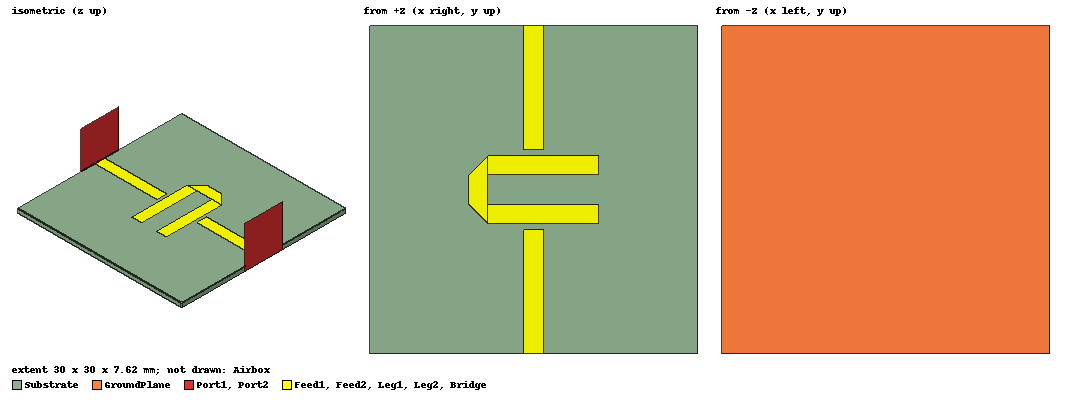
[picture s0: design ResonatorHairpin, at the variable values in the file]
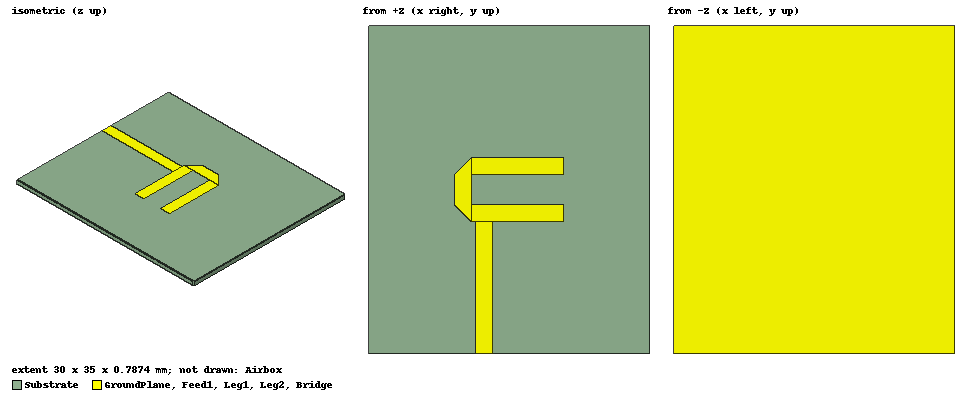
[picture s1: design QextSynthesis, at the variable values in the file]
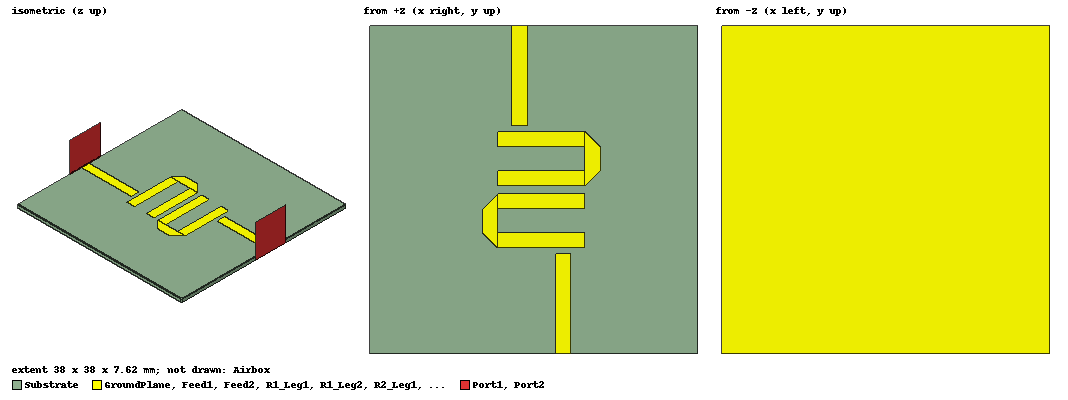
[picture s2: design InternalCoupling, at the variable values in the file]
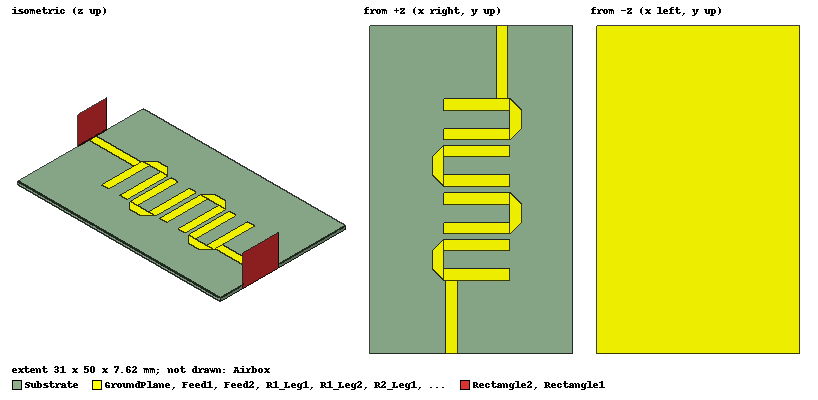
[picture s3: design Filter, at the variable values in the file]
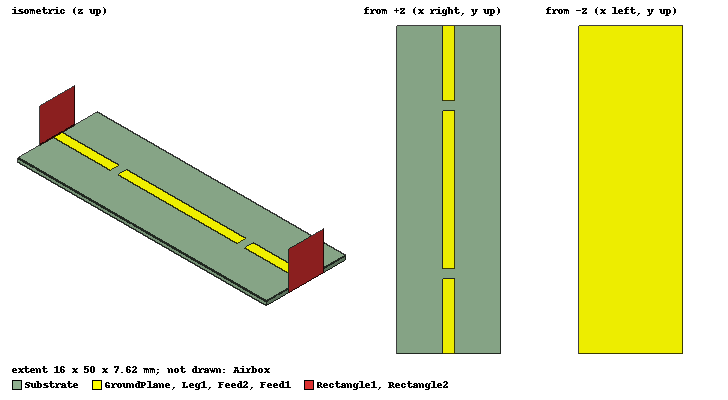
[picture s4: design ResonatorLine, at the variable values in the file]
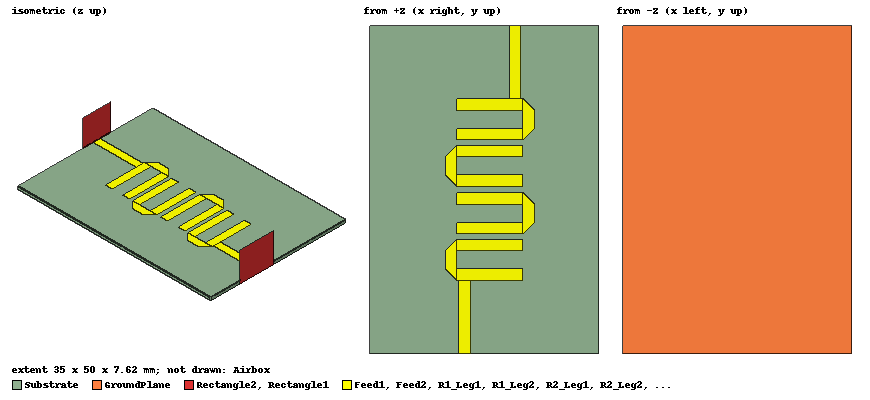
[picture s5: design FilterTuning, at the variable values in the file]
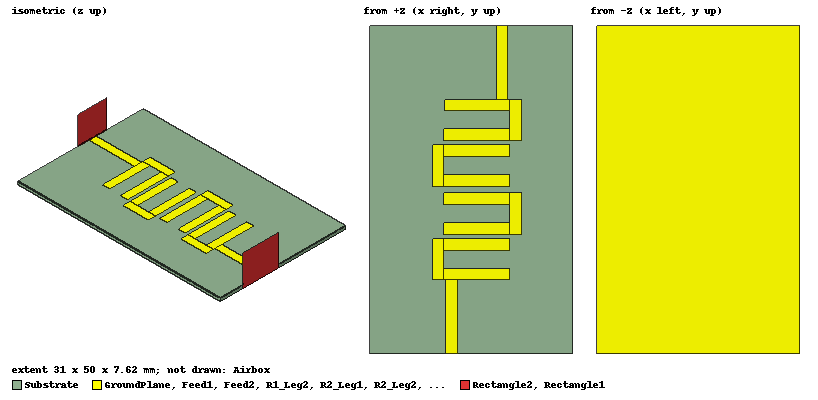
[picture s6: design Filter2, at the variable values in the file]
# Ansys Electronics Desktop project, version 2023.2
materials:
  vacuum: permittivity=1
  Rogers RO4003 (tm): permittivity=3.55 dielectric_loss_tangent=0.0027
  copper: permeability=0.999991 conductivity=58000000
  pec: conductivity=1e+30
  LossLess-Rogers RO4003 (tm): permittivity=3.55

design ResonatorHairpin (HFSS, HFSS Modal Network, model units mm)
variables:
  AirboxWidth = 30mm
  MicrostripWidth = 1.78mm
  Thickness = 31mil
  Len = 24.95604769mm
  LegR1 = 0.405
  BridgeR2 = 0.252
  R1x = AirboxHeight/2- (MicrostripWidth + LegR1*Len)/2
  R1y = AirboxWidth/2 - BridgeR2*Len/2
  AirboxHeight = 30mm
  W50 = 1.78mm
  FX = (AirboxHeight/2 - MicrostripWidth/2) mm
  F1x = AirboxHeight/2 - MicrostripWidth/2+FOffset
  WeakGap = 0.5mm
  FOffset = 0mm
  LegOffset = 0
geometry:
  Substrate [LossLess-Rogers RO4003 (tm)] = box(corner=(0mm, 0mm, 0), size=(AirboxHeight, AirboxWidth, Thickness))
  Airbox [vacuum] = box(corner=(0mm, 0mm, 0mm), size=(AirboxHeight, AirboxWidth, 495mil))
  Leg1 = rectangle(corner=(MicrostripWidth+R1x, R1y, Thickness), x_size=Len*LegR1, y_size=MicrostripWidth)
  Leg2 = rectangle(corner=(MicrostripWidth+R1x, R1y+BridgeR2*Len-MicrostripWidth, Thickness), x_size=Len*LegR1, y_size=MicrostripWidth)
  Bridge = rectangle(corner=(R1x, R1y, Thickness), x_size=MicrostripWidth, y_size=Len*BridgeR2)
  Feed1 = rectangle(corner=(F1X, 0, Thickness), x_size=W50, y_size=R1y-WeakGap)
  Feed2 = rectangle(corner=(AirboxHeight/2 - MicrostripWidth/2 + FOffset, AirboxWidth-R1y+WeakGap, Thickness), x_size=W50, y_size=R1y-WeakGap)
  GroundPlane = rectangle(corner=(0, 0, 0), x_size=AirboxHeight, y_size=AirboxWidth)
  Polyline1 = polyline(z=Thickness, xy: (R1x, R1y) (R1x, R1y+MicrostripWidth) (R1x+MicrostripWidth, R1y) (R1x, R1y), closed, covered)
  Bridge.subtract(Polyline1)
  Polyline2 = polyline(z=Thickness, xy: (R1x, R1y + BridgeR2*Len - MicrostripWidth) (R1x, R1y + BridgeR2*Len) (R1x+MicrostripWidth, R1y+BridgeR2*Len) (R1x, R1y + BridgeR2*Len - MicrostripWidth), closed, covered)
  Bridge.subtract(Polyline2)
  Port1 = rectangle(corner=(F1x - (W50*3/2), 0mm, 0), z_size=300mil, x_size=W50*4)
  Port2 = rectangle(corner=(F1x - (W50*3/2), AirboxWidth, 0), z_size=300mil, x_size=W50*4)
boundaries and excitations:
  Rad1: Radiation Faces=Airbox.face(+z)
  PerfE1: Perfect E Objects=[Bridge, Feed1, Feed2, GroundPlane, Leg1, Leg2]
  1: Wave Port Objects=Port1 WavePortType=Modal NumModes=1 Modes{Mode1{CharImp=Zpi}}
  2: Wave Port Objects=Port2 WavePortType=Modal NumModes=1 Modes{Mode1{CharImp=Zpi}}
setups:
  Setup1: HfssDriven Frequency=3.6GHz MaxDeltaS=0.004 MaximumPasses=16 MinimumPasses=15 MinimumConvergedPasses=1 PercentRefinement=30 BasisOrder=1 PortAccuracy=2 DrivenSolverType="Direct Solver"
    sweep Sweep: 2GHz to 6GHz, 1200 points; Type=Interpolating InterpTolerance=0.5 InterpMaxSolns=250 InterpUsePortImped=false PassivityErrorTolerance=0.0001
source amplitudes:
  1:1: 1W 0deg
  2:1: 0W 0deg
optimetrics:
  Bridge265: Parametric Sim._Setups=[Setup1]
    sweep LegR1: LINC 0.39 0.44 4
    table edits: add(0.44) edit(0.44, 0.396)
  Bridge258: Parametric Sim._Setups=[Setup1]
    sweep BridgeR2: 0.258
    sweep LegR1: LINC 0.38 0.44 8
    table edits: add(0.258, 0.44) edit(0.258, 0.44, 0.258, 0.4)
  Bridge270: Parametric Sim._Setups=[Setup1]
    sweep BridgeR2: 0.27
    sweep LegR1: LINC 0.38 0.4 8
    table edits: add(0.27, 0.4) edit(0.27, 0.4, 0.27, 0.36)
  Bridge252: Parametric Sim._Setups=[Setup1]
    sweep BridgeR2: 0.252
    sweep LegR1: LINC 0.39 0.44 8
    table edits: add(0.252, 0.44) edit(0.252, 0.44, 0.252, 0.405)
  Bridge275: Parametric Sim._Setups=[Setup1]
    sweep BridgeR2: 0.275
    sweep LegR1: LINC 0.36 0.4 10
    table edits: add(0.275, 0.4) edit(0.275, 0.4, 0.275, 0.391)
  Bridge245: Parametric Sim._Setups=[Setup1]
    sweep BridgeR2: 0.245
    sweep LegR1: LINC 0.39 0.44 8
    table edits: add(0.245, 0.44) edit(0.245, 0.44, 0.245, 0.41)
  Bridge240: Parametric Sim._Setups=[Setup1]
    sweep BridgeR2: 0.24
    sweep LegR1: LINC 0.4 0.44 8 LINC 0.36 0.4 6
    table edits: add(0.24, 0.4) edit(0.24, 0.4, 0.24, 0.411)
  ParametricSetup1: Parametric Sim._Setups=[Setup1]
    sweep WeakGap: 1mm
    sweep BridgeR2: 0.252
    sweep LegR1: 0.405
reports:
  Optimized Resonator S21 Plot: dB(S(2,1)) vs Freq on Setup1 : Sweep; markers MX1 at x=3.6e+09

design QextSynthesis (HFSS, HFSS Modal Network, model units mm)
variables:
  AirboxWidth = 35mm
  MicrostripWidth = 1.78mm
  Thickness = 31mil
  Len = 24.95604769mm
  LegR1 = 0.391
  BridgeR2 = 0.275
  R1x = AirboxHeight/2- (MicrostripWidth + LegR1*Len)/2
  R1y = AirboxWidth/2 - BridgeR2*Len/2
  AirboxHeight = 30mm
  FeedPos = R1x+MicrostripWidth+QextOffset
  QextOffset = 0.41667mm
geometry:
  Substrate [LossLess-Rogers RO4003 (tm)] = box(corner=(0mm, 0mm, 0), size=(AirboxHeight, AirboxWidth, Thickness))
  Airbox [vacuum] = box(corner=(0mm, 0mm, 0), size=(AirboxHeight, AirboxWidth, 495mil))
  Leg1 = rectangle(corner=(MicrostripWidth+R1x, R1y, Thickness), x_size=Len*LegR1, y_size=MicrostripWidth)
  Leg2 = rectangle(corner=(MicrostripWidth+R1x, R1y+BridgeR2*Len-MicrostripWidth, Thickness), x_size=Len*LegR1, y_size=MicrostripWidth)
  Bridge = rectangle(corner=(R1x, R1y, Thickness), x_size=MicrostripWidth, y_size=Len*BridgeR2)
  Feed1 = rectangle(corner=(FeedPos, 0, Thickness), x_size=MicrostripWidth, y_size=R1y)
  GroundPlane = rectangle(corner=(0, 0, 0), x_size=AirboxHeight, y_size=AirboxWidth)
  Polyline1 = polyline(z=Thickness, xy: (R1x, R1y) (R1x, R1y+MicrostripWidth) (R1x+MicrostripWidth, R1y) (R1x, R1y), closed, covered)
  Polyline2 = polyline(z=Thickness, xy: (R1x, R1y + BridgeR2*Len - MicrostripWidth) (R1x, R1y + BridgeR2*Len) (R1x+MicrostripWidth, R1y+BridgeR2*Len) (R1x, R1y + BridgeR2*Len - MicrostripWidth), closed, covered)
  Bridge.subtract(Polyline1, Polyline2)
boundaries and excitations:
  PerfE1: Perfect E Objects=[Bridge, Feed1, GroundPlane, Leg1, Leg2]
  Rad1: Radiation Faces=Airbox.face(+z)
  1: Wave Port Faces=Airbox.face(-y) WavePortType=Modal NumModes=1 Modes{Mode1{CharImp=Zpi}}
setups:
  Setup1: HfssDriven Frequency=3.6GHz MaxDeltaS=0.005 MaximumPasses=24 MinimumPasses=12 MinimumConvergedPasses=1 PercentRefinement=30 BasisOrder=1 PortAccuracy=2 DrivenSolverType="Direct Solver"
    sweep Sweep: 2GHz to 11GHz, 8000 points; Type=Interpolating SaveFields InterpTolerance=0.5 InterpMaxSolns=250 InterpUsePortImped=false PassivityErrorTolerance=0.0001
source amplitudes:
  1:1: 1W 0deg
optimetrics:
  Bridge252: Parametric Sim._Setups=[Setup1]
    sweep BridgeR2: 0.252
    sweep LegR1: 0.405
    sweep QextOffset: LIN 0mm 0.5mm 0.1mm
    table edits: add(0.252, 0.405, 0.5mm) edit(0.252, 0.405, 0.5mm, 0.252, 0.405, 0.341mm)
  Bridge275: Parametric Sim._Setups=[Setup1]
    sweep BridgeR2: 0.275
    sweep LegR1: 0.391
    sweep QextOffset: LIN 0mm 0.5mm 0.1mm
    table edits: add(0.275, 0.391, 0.5mm) edit(0.275, 0.391, 0.5mm, 0.275, 0.391, -0.03mm)
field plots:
  ComplexMag_E1: E Field in Airbox on Setup1 : LastAdaptive at Freq=3.6GHz Phase=0deg
  Mag_E1: E Field in Airbox on Setup1 : Sweep at Freq=6.5GHz Phase=0deg
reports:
  S Parameter Plot 1: dB(S(1,1)), ang_deg(S(1,1)) vs Freq on Setup1 : Sweep; markers MX2 at x=6.9246204e+09, MY1 at y=-2.79148, MY3 at y=0.350113

design InternalCoupling (HFSS, HFSS Modal Network, model units mm)
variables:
  a = 0.252
  Beta1 = 0.405
  Beta2 = Beta1
  W = 1.78mm
  Len = 24.95604769mm
  Resonator1W = a*Len
  Resonator1H = W + max(Beta1*Len,Beta2*Len)
  Spacing1 = 0.93mm
  ResonatorsW = 2*Resonator1W + Spacing1
  F1Y = 0mm
  WeakGap = 0.68mm
  FeedOffset = 2.5mm
  AirboxWidth = 38mm
  AirboxHeight = 38mm
  Thickness = 31mil
  Resonator1X = (AirboxHeight/2) - (Resonator1H/2)
  Resonator1Y = AirboxWidth/2 - (Resonator1W*2/2) - (Spacing1/2)
  Resonator2X = Resonator1X+W
  Resonator2Y = Resonator1Y + (a*Len) + Spacing1
  F1X = Resonator1X+(Beta1*Len+W)/2 + FeedOffset
  F2X = Resonator2X+(Beta2*Len-W)/2 - FeedOffset
  F2Y = FeedLen + ResonatorsW + 2*WeakGap
  FeedLen = Resonator1Y-WeakGap
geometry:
  Substrate [Rogers RO4003 (tm)] = box(corner=(0mm, 0mm, 0), size=(AirboxHeight, AirboxWidth, Thickness))
  Airbox [vacuum] = box(corner=(0mm, 0mm, 0), size=(AirboxHeight, AirboxWidth, 495mil))
  GroundPlane = rectangle(corner=(0, 0, 0), x_size=AirboxHeight, y_size=AirboxWidth)
  R1_Bridge = rectangle(corner=(Resonator1X, Resonator1Y, Thickness), x_size=W, y_size=a*Len)
  R1_Leg1 = rectangle(corner=(Resonator1X+W, Resonator1Y, Thickness), x_size=Beta1*Len, y_size=W)
  R1_Leg2 = rectangle(corner=(Resonator1X+W, Resonator1Y+(a*Len)-W, Thickness), x_size=Beta2*Len, y_size=W)
  R2_Bridge1 = rectangle(corner=(Resonator2X+max(Beta1,Beta2)*Len, Resonator2Y, Thickness), x_size=W, y_size=a*Len)
  R2_Leg1 = rectangle(corner=(Resonator2X, Resonator2Y, Thickness), x_size=Beta1*Len, y_size=W)
  R2_Leg2 = rectangle(corner=(Resonator2X, Resonator2Y+(a*Len)-W, Thickness), x_size=Beta2*Len, y_size=W)
  Feed1 = rectangle(corner=(F1X, F1Y, Thickness), x_size=W, y_size=FeedLen)
  Feed2 = rectangle(corner=(F2X, F2Y, Thickness), x_size=W, y_size=FeedLen)
  Polyline1 = polyline(z=Thickness, xy: (Resonator1X, Resonator1Y) (Resonator1X, Resonator1Y+W) (Resonator1X+W, Resonator1Y) (Resonator1X, Resonator1Y), closed, covered)
  R1_Bridge.subtract(Polyline1)
  Polyline2 = polyline(z=Thickness, xy: (Resonator1X, Resonator1Y + a*Len - W) (Resonator1X, Resonator1Y+ a*Len) (Resonator1X+W, Resonator1Y + a*Len) (Resonator1X, Resonator1Y + a*Len - W), closed, covered)
  R1_Bridge.subtract(Polyline2)
  Polyline3 = polyline(z=Thickness, xy: (Resonator2X+Beta1*Len, Resonator2Y) (Resonator2X+Beta1*Len+W, Resonator2Y) (Resonator2X+Beta1*Len+W, Resonator2Y+W) (Resonator2X+Beta1*Len, Resonator2Y), closed, covered)
  Polyline4 = polyline(z=Thickness, xy: (Resonator2X+Beta2*Len, Resonator2Y+a*Len) (Resonator2X+Beta2*Len+W, Resonator2Y+a*Len) (Resonator2X+Beta2*Len+W, Resonator2Y+a*Len-W) (Resonator2X+Beta2*Len, Resonator2Y+a*Len), closed, covered)
  R2_Bridge1.subtract(Polyline3, Polyline4)
  Port1 = rectangle(corner=(F1X - (W*3/2), 0mm, 0mm), z_size=300mil, x_size=W*4)
  Port2 = rectangle(corner=(F2X - (W*3/2), AirboxWidth, 0mm), z_size=300mil, x_size=W*4)
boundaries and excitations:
  Rad1: Radiation Faces=Airbox.face(+z)
  PerfE1: Perfect E Objects=[Feed1, Feed2, GroundPlane, R1_Bridge, R1_Leg1, R1_Leg2, R2_Bridge1, R2_Leg2, R2_Leg1]
  1: Wave Port Objects=Port1 WavePortType=Modal NumModes=1 Modes{Mode1{CharImp=Zpi}}
  2: Wave Port Objects=Port2 WavePortType=Modal NumModes=1 Modes{Mode1{CharImp=Zpi}}
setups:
  Setup1: HfssDriven Frequency=3.6GHz MaxDeltaS=0.004 MaximumPasses=22 MinimumPasses=13 MinimumConvergedPasses=1 PercentRefinement=30 BasisOrder=1 PortAccuracy=2 DrivenSolverType="Direct Solver"
    sweep Sweep: 1.8GHz to 5.4GHz, 2500 points; Type=Interpolating InterpTolerance=0.5 InterpMaxSolns=250 InterpUsePortImped=false PassivityErrorTolerance=0.0001
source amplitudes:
  1:1: 1W 0deg
  2:1: 0W 0deg
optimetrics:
  Bridge252: Parametric Sim._Setups=[Setup1]
    sweep a: 0.252
    sweep Beta1: 0.405
    sweep Spacing1: LINC 0.05mm 1.25mm 6
  Bridge275: Parametric Sim._Setups=[Setup1]
    sweep a: 0.275
    sweep Beta1: 0.391
    sweep Spacing1: LINC 0.05mm 1.25mm 6
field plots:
  ComplexMag_E1: E Field in Airbox on Setup1 : LastAdaptive at Freq=3.6GHz Phase=0deg
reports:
  S Parameter Plot 1: dB(S(2,1)) vs Freq on Setup1 : Sweep [a=0.275 Beta1=all Spacing1=all]; markers m1 at 2.7277311GHz, m2 at 3.9118848GHz, m3 at 3.2938776GHz, m4 at 3.8081633GHz, m5 at 3.4321729GHz, m6 at 3.7462185GHz, m7 at 3.4840336GHz, m8 at 3.7073229GHz, m9 at 3.5229292GHz, m10 at 3.6828331GHz, m11 at 3.5445378GHz, m12 at 3.6655462GHz

design Filter (HFSS, HFSS Modal Network, model units mm)
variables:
  a = 0.252
  Beta1 = 0.405
  Beta2 = Beta1
  W = 1.78mm
  Len = 24.95604769mm
  Resonator1W = a*Len
  R1Beta1 = 0.405
  Resonator1H = W + max(Beta1,Beta2)*Len
  W50 = 1.78mm
  Spacing1 = 0.77916mm
  ResonatorsW = Resonator1W + Resonator2W + Resonator3W + Resonator4W + Spacing1 + Spacing2 + Spacing3
  FeedOffset = 0.341mm
  Resonator2W = a*Len
  Resonator3W = a*Len
  Resonator4W = a*Len
  F1Y = 0mm
  Spacing2 = 0.98165mm
  Spacing3 = Spacing1
  WeakGap = 0mm
  AirboxWidth = 50mm
  AirboxHeight = 31mm
  Thickness = 31mil
  Resonator1X = (AirboxHeight/2) - (Resonator1H/2)
  Resonator1Y = AirboxWidth/2 - ResonatorsW/2
  Resonator2X = Resonator1X+W
  Resonator2Y = Resonator1Y + Resonator1W + Spacing1
  F1X = Resonator1X+W+FeedOffset
  F2X = Resonator2X-W+max(Beta1,Beta2)*Len - FeedOffset
  F2Y = FeedLen + ResonatorsW + 2*WeakGap
  FeedLen = Resonator1Y-WeakGap
  Resonator3X = Resonator1X
  Resonator4X = Resonator1X+W
  Resonator3Y = Resonator2Y + Resonator2W + Spacing2
  Resonator4Y = Resonator3Y + Resonator3W + Spacing3
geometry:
  Substrate [LossLess-Rogers RO4003 (tm)] = box(corner=(0mm, 0mm, 0), size=(AirboxHeight, AirboxWidth, Thickness))
  Airbox [vacuum] = box(corner=(0mm, 0mm, 0), size=(AirboxHeight, AirboxWidth, 495mil))
  GroundPlane = rectangle(corner=(0, 0, 0), x_size=AirboxHeight, y_size=AirboxWidth)
  R1_Bridge = rectangle(corner=(Resonator1X, Resonator1Y, Thickness), x_size=W, y_size=a*Len)
  R1_Leg1 = rectangle(corner=(Resonator1X+W, Resonator1Y, Thickness), x_size=R1Beta1*Len, y_size=W)
  R1_Leg2 = rectangle(corner=(Resonator1X+W, Resonator1Y+(a*Len)-W, Thickness), x_size=Beta2*Len, y_size=W)
  R2_Bridge = rectangle(corner=(Resonator2X+max(Beta1,Beta2)*Len, Resonator2Y, Thickness), x_size=W, y_size=a*Len)
  R2_Leg1 = rectangle(corner=(Resonator2X, Resonator2Y, Thickness), x_size=Beta1*Len, y_size=W)
  R2_Leg2 = rectangle(corner=(Resonator2X, Resonator2Y+(a*Len)-W, Thickness), x_size=Beta2*Len, y_size=W)
  Feed1 = rectangle(corner=(F1X, F1Y, Thickness), x_size=W50, y_size=FeedLen)
  Feed2 = rectangle(corner=(F2X, F2Y, Thickness), x_size=W50, y_size=FeedLen)
  R3_Bridge = rectangle(corner=(Resonator3X, Resonator3Y, Thickness), x_size=W, y_size=a*Len)
  R3_Leg1 = rectangle(corner=(Resonator3X+W, Resonator3Y, Thickness), x_size=Beta1*Len, y_size=W)
  R3_Leg2 = rectangle(corner=(Resonator3X+W, Resonator3Y+(a*Len)-W, Thickness), x_size=Beta1*Len, y_size=W)
  R4_Bridge = rectangle(corner=(Resonator4X+max(Beta1,Beta2)*Len, Resonator4Y, Thickness), x_size=W, y_size=a*Len)
  R4_Leg1 = rectangle(corner=(Resonator4X, Resonator4Y, Thickness), x_size=Beta1*Len, y_size=W)
  R4_Leg2 = rectangle(corner=(Resonator4X-(R1Beta1-Beta1)*Len, Resonator4Y+(a*Len)-W, Thickness), x_size=R1Beta1*Len, y_size=W)
  Polyline1 = polyline(z=Thickness, xy: (Resonator1X, Resonator1Y) (Resonator1X, Resonator1Y + W) (Resonator1X+W, Resonator1Y) (Resonator1X, Resonator1Y), closed, covered)
  R1_Bridge.subtract(Polyline1)
  Polyline2 = polyline(z=Thickness, xy: (Resonator3X, Resonator3Y) (Resonator3X, Resonator3Y+W) (Resonator3X+W, Resonator3Y) (Resonator3X, Resonator3Y), closed, covered)
  R3_Bridge.subtract(Polyline2)
  Polyline3 = polyline(z=Thickness, xy: (Resonator1X, Resonator1Y + a*Len - W) (Resonator1X, Resonator1Y + a*Len) (Resonator1X+W, Resonator1Y + a*Len) (Resonator1X, Resonator1Y + a*Len - W), closed, covered)
  R1_Bridge.subtract(Polyline3)
  Polyline4 = polyline(z=Thickness, xy: (Resonator3X, Resonator3Y + a*Len - W) (Resonator3X, Resonator3Y + a*Len) (Resonator3X+W, Resonator3Y+a*Len) (Resonator3X, Resonator3Y + a*Len - W), closed, covered)
  R3_Bridge.subtract(Polyline4)
  Polyline5 = polyline(z=Thickness, xy: (Resonator2X+Beta1*Len, Resonator2Y) (Resonator2X+Beta1*Len+W, Resonator2Y) (Resonator2X+Beta1*Len+W, Resonator2Y+W) (Resonator2X+Beta1*Len, Resonator2Y), closed, covered)
  R2_Bridge.subtract(Polyline5)
  Polyline6 = polyline(z=Thickness, xy: (Resonator4X+Beta1*Len, Resonator4Y) (Resonator4X+Beta1*Len+W, Resonator4Y) (Resonator4X+Beta1*Len+W, Resonator4Y+W) (Resonator4X+Beta1*Len, Resonator4Y), closed, covered)
  R4_Bridge.subtract(Polyline6)
  Polyline7 = polyline(z=Thickness, xy: (Resonator2X+Beta2*Len, Resonator2Y+a*Len) (Resonator2X+Beta2*Len+W, Resonator2Y+a*Len) (Resonator2X+Beta2*Len+W, Resonator2Y+a*Len-W) (Resonator2X+Beta2*Len, Resonator2Y+a*Len), closed, covered)
  R2_Bridge.subtract(Polyline7)
  Polyline8 = polyline(z=Thickness, xy: (Resonator4X+Beta2*Len, Resonator4Y+a*Len) (Resonator4X+Beta2*Len+W, Resonator4Y+a*Len) (Resonator4X+Beta2*Len+W, Resonator4Y+a*Len-W) (Resonator4X+Beta2*Len, Resonator4Y+a*Len), closed, covered)
  R4_Bridge.subtract(Polyline8)
  Rectangle1 = rectangle(corner=(F1X-(W50*3/2), 0mm, 0mm), z_size=300mil, x_size=W50*4)
  Rectangle2 = rectangle(corner=(F2X-(W50*3/2), AirboxWidth, 0), z_size=300mil, x_size=W50*5)
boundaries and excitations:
  FiniteCond6: Finite Conductivity Objects=GroundPlane UseMaterial Material=copper IsInternal
  FiniteCond7: Finite Conductivity Objects=[Feed1, Feed2, R1_Bridge, R1_Leg1, R1_Leg2, R2_Bridge, R2_Leg1, R2_Leg2] Conductivity=58000000 Permeability=1 IsInternal
  FiniteCond8: Finite Conductivity Objects=[R3_Bridge, R3_Leg1, R3_Leg2, R4_Bridge, R4_Leg1, R4_Leg2] Conductivity=58000000 Permeability=1 IsInternal
  Rad1: Radiation Faces=Airbox.face(+z)
  1: Wave Port Objects=Rectangle1 WavePortType=Modal NumModes=1 Modes{Mode1{CharImp=Zpi}}
  2: Wave Port Objects=Rectangle2 WavePortType=Modal NumModes=1 Modes{Mode1{CharImp=Zpi}}
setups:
  Setup1: HfssDriven Frequency=3.6GHz MaxDeltaS=0.005 MaximumPasses=16 MinimumPasses=1 MinimumConvergedPasses=1 PercentRefinement=30 BasisOrder=1 PortAccuracy=2 DrivenSolverType="Direct Solver"
    sweep Sweep: 2GHz to 4GHz, 2500 points; Type=Interpolating InterpTolerance=0.5 InterpMaxSolns=250 InterpUsePortImped=false PassivityErrorTolerance=0.0001
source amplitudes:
  1:1: 1W 0deg
  2:1: 0W 0deg
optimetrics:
  Bridge252: Parametric Sim._Setups=[Setup1]
    sweep a: 0.252
    sweep Spacing1: LINC 0.77916mm 0.79mm 6
    sweep Spacing2: LINC 0.98165mm 1.15mm 6
    sweep R1Beta1: LIN 0.405 0.425 8
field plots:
  Mag_E1, Mag_E2: E Field in Airbox on Setup1 : LastAdaptive at Freq=3.6GHz Phase=0deg
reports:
  S Parameter Plot 1: dB(S(2,1)), dB(S(1,1)) vs Freq on Setup1 : Sweep; markers m1 at 3.8655164GHz, MY1 at y=-14.5146

design ResonatorLine (HFSS, HFSS Modal Network, model units mm)
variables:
  AirboxWidth = 50mm
  MicrostripWidth = 1.78mm
  Thickness = 31mil
  Len = 24mm
  LegR1 = 0.43533
  BridgeR2 = 23.52
  R1x = AirboxHeight/2 - MicrostripWidth/2
  R1y = AirboxWidth/2 - Len/2
  AirboxHeight = 16mm
  W50 = 1.78mm
  FX = (AirboxHeight/2 - MicrostripWidth/2) mm
  F1x = AirboxHeight/2 - MicrostripWidth/2+FOffset
  WeakGap = 1.5mm
  FOffset = 0mm
  LegOffset = -0.02
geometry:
  Substrate [LossLess-Rogers RO4003 (tm)] = box(corner=(0mm, 0mm, 0), size=(AirboxHeight, AirboxWidth, Thickness))
  Airbox [vacuum] = box(corner=(0mm, 0mm, 0mm), size=(AirboxHeight, AirboxWidth, 300mil))
  Leg1 = rectangle(corner=(R1x, R1y, Thickness), x_size=MicrostripWidth, y_size=Len)
  Feed1 = rectangle(corner=(F1X, 0, Thickness), x_size=W50, y_size=R1y-WeakGap)
  Feed2 = rectangle(corner=(AirboxHeight/2 - MicrostripWidth/2 + FOffset, AirboxWidth-R1y+WeakGap, Thickness), x_size=W50, y_size=R1y-WeakGap)
  GroundPlane = rectangle(corner=(0, 0, 0), x_size=AirboxHeight, y_size=AirboxWidth)
  Rectangle1 = rectangle(corner=(F1x - (W50*3/2), 0mm, 0), z_size=300mil, x_size=W50*4)
  Rectangle2 = rectangle(corner=(F1x - (W50*3/2), AirboxWidth, 0), z_size=300mil, x_size=W50*4)
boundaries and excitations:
  Rad1: Radiation Faces=Airbox.face(+z)
  PerfE1: Perfect E Objects=[Feed1, Feed2, GroundPlane, Leg1]
  1: Wave Port Objects=Rectangle1 WavePortType=Modal NumModes=1 Modes{Mode1{CharImp=Zpi}}
  2: Wave Port Objects=Rectangle2 WavePortType=Modal NumModes=1 Modes{Mode1{CharImp=Zpi}}
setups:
  Setup1: HfssDriven Frequency=3.6GHz MaxDeltaS=0.005 MaximumPasses=18 MinimumPasses=15 MinimumConvergedPasses=1 PercentRefinement=30 BasisOrder=1 PortAccuracy=2 DrivenSolverType="Direct Solver"
    sweep Sweep: 1.5GHz to 5GHz, 1200 points; Type=Interpolating InterpTolerance=0.5 InterpMaxSolns=250 InterpUsePortImped=false PassivityErrorTolerance=0.0001
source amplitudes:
  1:1: 1W 0deg
  2:1: 0W 0deg
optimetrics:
  ParametricSetup1: Parametric Sim._Setups=[Setup1]
    sweep BridgeR2: LINC 0.21 0.26 8
    sweep LegOffset: LIN -0.08 -0.01 0.01
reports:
  S Parameter Plot 1: dB(S(1,1)) vs Freq on Setup1 : Sweep
  S Parameter Plot 2: dB(S(2,1)) vs Freq on Setup1 : Sweep; markers m1 at 3.6105088GHz

design FilterTuning (HFSS, HFSS Modal Network, model units mm)
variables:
  a = 0.252
  Beta1 = 0.405
  Beta2 = Beta1
  W = 1.78mm
  Len = 24.95604769mm
  Resonator1W = a*Len
  R1Beta1 = Beta1
  Resonator1H = W + max(Beta1,Beta2)*Len
  W50 = 1.78mm
  Spacing1 = 0.77916mm
  ResonatorsW = Resonator1W + Resonator2W + Resonator3W + Resonator4W + Spacing1 + Spacing2 + Spacing3
  FeedOffset = 0.341mm
  Resonator2W = a*Len
  Resonator3W = a*Len
  Resonator4W = a*Len
  F1Y = 0mm
  Spacing2 = 0.98165mm
  Spacing3 = Spacing1
  WeakGap = 0mm
  AirboxWidth = 50mm
  AirboxHeight = 35mm
  Thickness = 31mil
  Resonator1X = (AirboxHeight/2) - (Resonator1H/2)
  Resonator1Y = AirboxWidth/2 - ResonatorsW/2
  Resonator2X = Resonator1X+W
  Resonator2Y = Resonator1Y + Resonator1W + Spacing1
  F1X = Resonator1X+W+FeedOffset
  F2X = Resonator2X-W+max(Beta1,Beta2)*Len - FeedOffset
  F2Y = FeedLen + ResonatorsW + 2*WeakGap
  FeedLen = Resonator1Y-WeakGap
  Resonator3X = Resonator1X
  Resonator4X = Resonator1X+W
  Resonator3Y = Resonator2Y + Resonator2W + Spacing2
  Resonator4Y = Resonator3Y + Resonator3W + Spacing3
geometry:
  Substrate [LossLess-Rogers RO4003 (tm)] = box(corner=(0mm, 0mm, 0), size=(AirboxHeight, AirboxWidth, Thickness))
  Airbox [vacuum] = box(corner=(0mm, 0mm, 0), size=(AirboxHeight, AirboxWidth, 495mil))
  GroundPlane = rectangle(corner=(0, 0, 0), x_size=AirboxHeight, y_size=AirboxWidth)
  R1_Bridge = rectangle(corner=(Resonator1X, Resonator1Y, Thickness), x_size=W, y_size=a*Len)
  R1_Leg1 = rectangle(corner=(Resonator1X+W, Resonator1Y, Thickness), x_size=R1Beta1*Len, y_size=W)
  R1_Leg2 = rectangle(corner=(Resonator1X+W, Resonator1Y+(a*Len)-W, Thickness), x_size=Beta2*Len, y_size=W)
  R2_Bridge = rectangle(corner=(Resonator2X+max(Beta1,Beta2)*Len, Resonator2Y, Thickness), x_size=W, y_size=a*Len)
  R2_Leg1 = rectangle(corner=(Resonator2X, Resonator2Y, Thickness), x_size=Beta1*Len, y_size=W)
  R2_Leg2 = rectangle(corner=(Resonator2X, Resonator2Y+(a*Len)-W, Thickness), x_size=Beta2*Len, y_size=W)
  Feed1 = rectangle(corner=(F1X, F1Y, Thickness), x_size=W50, y_size=FeedLen)
  Feed2 = rectangle(corner=(F2X, F2Y, Thickness), x_size=W50, y_size=FeedLen)
  R3_Bridge = rectangle(corner=(Resonator3X, Resonator3Y, Thickness), x_size=W, y_size=a*Len)
  R3_Leg1 = rectangle(corner=(Resonator3X+W, Resonator3Y, Thickness), x_size=Beta1*Len, y_size=W)
  R3_Leg2 = rectangle(corner=(Resonator3X+W, Resonator3Y+(a*Len)-W, Thickness), x_size=Beta1*Len, y_size=W)
  R4_Bridge = rectangle(corner=(Resonator4X+max(Beta1,Beta2)*Len, Resonator4Y, Thickness), x_size=W, y_size=a*Len)
  R4_Leg1 = rectangle(corner=(Resonator4X, Resonator4Y, Thickness), x_size=Beta1*Len, y_size=W)
  R4_Leg2 = rectangle(corner=(Resonator4X-(R1Beta1-Beta1)*Len, Resonator4Y+(a*Len)-W, Thickness), x_size=R1Beta1*Len, y_size=W)
  Polyline1 = polyline(z=Thickness, xy: (Resonator1X, Resonator1Y) (Resonator1X, Resonator1Y + W) (Resonator1X+W, Resonator1Y) (Resonator1X, Resonator1Y), closed, covered)
  R1_Bridge.subtract(Polyline1)
  Polyline2 = polyline(z=Thickness, xy: (Resonator3X, Resonator3Y) (Resonator3X, Resonator3Y+W) (Resonator3X+W, Resonator3Y) (Resonator3X, Resonator3Y), closed, covered)
  R3_Bridge.subtract(Polyline2)
  Polyline3 = polyline(z=Thickness, xy: (Resonator1X, Resonator1Y + a*Len - W) (Resonator1X, Resonator1Y + a*Len) (Resonator1X+W, Resonator1Y + a*Len) (Resonator1X, Resonator1Y + a*Len - W), closed, covered)
  R1_Bridge.subtract(Polyline3)
  Polyline4 = polyline(z=Thickness, xy: (Resonator3X, Resonator3Y + a*Len - W) (Resonator3X, Resonator3Y + a*Len) (Resonator3X+W, Resonator3Y+a*Len) (Resonator3X, Resonator3Y + a*Len - W), closed, covered)
  R3_Bridge.subtract(Polyline4)
  Polyline5 = polyline(z=Thickness, xy: (Resonator2X+Beta1*Len, Resonator2Y) (Resonator2X+Beta1*Len+W, Resonator2Y) (Resonator2X+Beta1*Len+W, Resonator2Y+W) (Resonator2X+Beta1*Len, Resonator2Y), closed, covered)
  R2_Bridge.subtract(Polyline5)
  Polyline6 = polyline(z=Thickness, xy: (Resonator4X+Beta1*Len, Resonator4Y) (Resonator4X+Beta1*Len+W, Resonator4Y) (Resonator4X+Beta1*Len+W, Resonator4Y+W) (Resonator4X+Beta1*Len, Resonator4Y), closed, covered)
  R4_Bridge.subtract(Polyline6)
  Polyline7 = polyline(z=Thickness, xy: (Resonator2X+Beta2*Len, Resonator2Y+a*Len) (Resonator2X+Beta2*Len+W, Resonator2Y+a*Len) (Resonator2X+Beta2*Len+W, Resonator2Y+a*Len-W) (Resonator2X+Beta2*Len, Resonator2Y+a*Len), closed, covered)
  R2_Bridge.subtract(Polyline7)
  Polyline8 = polyline(z=Thickness, xy: (Resonator4X+Beta2*Len, Resonator4Y+a*Len) (Resonator4X+Beta2*Len+W, Resonator4Y+a*Len) (Resonator4X+Beta2*Len+W, Resonator4Y+a*Len-W) (Resonator4X+Beta2*Len, Resonator4Y+a*Len), closed, covered)
  R4_Bridge.subtract(Polyline8)
  Rectangle1 = rectangle(corner=(F1X-(W50*3/2), 0mm, 0mm), z_size=300mil, x_size=W50*4)
  Rectangle2 = rectangle(corner=(F2X-(W50*3/2), AirboxWidth, 0), z_size=300mil, x_size=W50*5)
  R1_Leg1_Port [non-model] = rectangle(corner=(Resonator1X+W, Resonator1Y, 0), x_size=R1Beta1*Len, y_size=W)
  R4_Leg2_PortSupport [non-model] = rectangle(corner=(Resonator4X-(R1Beta1-Beta1)*Len, Resonator4Y+(a*Len)-W, 0), x_size=R1Beta1*Len, y_size=W)
  R2_Leg2_PortSupport [non-model] = rectangle(corner=(Resonator2X, Resonator2Y+(a*Len)-W, 0), x_size=Beta2*Len, y_size=W)
  R3_Leg1_PortSupply [non-model] = rectangle(corner=(Resonator3X+W, Resonator3Y, 0), x_size=Beta1*Len, y_size=W)
  LP1 = polyline(x=23.4436mm, yz in mm: (11.152167, 0.7874) (12.932167, 0.7874) (12.932167, 0) (11.152167, 0), closed, covered)
  LP2 = polyline(x=13.3364mm, yz in mm: (38.847833, 0.7874) (37.067833, 0.7874) (37.067833, 0) (38.847833, 0), closed, covered)
  LP3 = polyline(x=13.3364mm, yz in mm: (24.509175, 0.7874) (22.729175, 0.7874) (22.729175, 0) (24.509175, 0), closed, covered)
  LP4 = polyline(x=23.4436mm, yz in mm: (25.490825, 0.7874) (27.270825, 0.7874) (27.270825, 0) (25.490825, 0), closed, covered)
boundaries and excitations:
  FiniteCond6: Finite Conductivity Objects=GroundPlane UseMaterial Material=copper IsInternal
  FiniteCond7: Finite Conductivity Objects=[Feed1, Feed2, R1_Bridge, R1_Leg1, R1_Leg2, R2_Bridge, R2_Leg1, R2_Leg2] Conductivity=58000000 Permeability=1 IsInternal
  FiniteCond8: Finite Conductivity Objects=[R3_Bridge, R3_Leg1, R3_Leg2, R4_Bridge, R4_Leg1, R4_Leg2] Conductivity=58000000 Permeability=1 IsInternal
  Rad1: Radiation Faces=Airbox.face(+z)
  1: Wave Port Objects=Rectangle1 WavePortType=Modal NumModes=1 Modes{Mode1{CharImp=Zpi}}
  2: Wave Port Objects=Rectangle2 WavePortType=Modal NumModes=1 Modes{Mode1{CharImp=Zpi}}
  3: Lumped Port Faces=LP1.face LumpedPortType=Modal Modes{Mode1{IntLine{(23.4436, 12.042167, 0) -> (23.4436, 12.042167, 0.7874)} CharImp=Zpi RenormImp=50ohm}} Impedance=50ohm
  4: Lumped Port Faces=LP2.face LumpedPortType=Modal Modes{Mode1{IntLine{(13.3364, 37.957833, 0) -> (13.3364, 37.957833, 0.7874)} CharImp=Zpi RenormImp=50ohm}} Impedance=50ohm
  5: Lumped Port Faces=LP3.face LumpedPortType=Modal Modes{Mode1{IntLine{(13.3364, 23.619175, 0) -> (13.3364, 23.619175, 0.7874)} CharImp=Zpi RenormImp=50ohm}} Impedance=50ohm
  6: Lumped Port Faces=LP4.face LumpedPortType=Modal Modes{Mode1{IntLine{(23.4436, 26.380825, 0) -> (23.4436, 26.380825, 0.7874)} CharImp=Zpi RenormImp=50ohm}} Impedance=50ohm
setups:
  Setup1: HfssDriven Frequency=3.6GHz MaxDeltaS=0.004 MaximumPasses=17 MinimumPasses=1 MinimumConvergedPasses=1 PercentRefinement=30 BasisOrder=1 PortAccuracy=2 DrivenSolverType="Direct Solver"
    sweep Sweep: 2GHz to 6GHz, 6000 points; Type=Interpolating InterpTolerance=0.5 InterpMaxSolns=250 InterpUsePortImped=false PassivityErrorTolerance=0.0001
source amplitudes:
  1:1: 1W 0deg
  2:1, 3:1, 4:1, 5:1, 6:1: 0W 0deg
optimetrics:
  Bridge252: Parametric Sim._Setups=[Setup1]
    sweep a: 0.252
    sweep Spacing1: 0.77916mm
    sweep Spacing2: 0.98165mm
    sweep FeedOffset: 0.341mm
  Bridge275: Parametric Sim._Setups=[Setup1]
    sweep a: 0.275
    sweep Spacing1: 0.76996mm
    sweep Spacing2: 0.96216mm
    sweep FeedOffset: 0mm
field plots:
  Mag_E1: E Field in Airbox on Setup1 : LastAdaptive at Freq=3.6GHz Phase=0deg
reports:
  S Parameter Plot 1: dB(S(2,1)), dB(S(1,1)) vs Freq on Setup1 : Sweep [a=all Spacing1=all FeedOffset=all Spacing2=all]; markers m1 at 3.8655164GHz, MY1 at y=-15

design Filter2 (HFSS, HFSS Modal Network, model units mm)
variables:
  a = 0.252
  Beta1 = 0.405
  Beta2 = Beta1
  W = 1.78mm
  Len = 24.95604769mm
  Resonator1W = a*Len
  R1Beta1 = 0.39999375
  Resonator1H = W + max(Beta1,Beta2)*Len
  W50 = 1.78mm
  Spacing1 = 0.6720225mm
  ResonatorsW = Resonator1W + Resonator2W + Resonator3W + Resonator4W + Spacing1 + Spacing2 + Spacing3
  FeedOffset = 0.341mm
  Resonator2W = a*Len
  Resonator3W = a*Len
  Resonator4W = a*Len
  F1Y = 0mm
  Spacing2 = 1.00619125mm
  Spacing3 = Spacing1
  WeakGap = 0mm
  AirboxWidth = 50mm
  AirboxHeight = 31mm
  Thickness = 31mil
  Resonator1X = (AirboxHeight/2) - (Resonator1H/2)
  Resonator1Y = AirboxWidth/2 - ResonatorsW/2
  Resonator2X = Resonator1X+W
  Resonator2Y = Resonator1Y + Resonator1W + Spacing1
  F1X = Resonator1X+W+FeedOffset
  F2X = Resonator2X-W+max(Beta1,Beta2)*Len - FeedOffset
  F2Y = FeedLen + ResonatorsW + 2*WeakGap
  FeedLen = Resonator1Y-WeakGap
  Resonator3X = Resonator1X
  Resonator4X = Resonator1X+W
  Resonator3Y = Resonator2Y + Resonator2W + Spacing2
  Resonator4Y = Resonator3Y + Resonator3W + Spacing3
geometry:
  Substrate [LossLess-Rogers RO4003 (tm)] = box(corner=(0mm, 0mm, 0), size=(AirboxHeight, AirboxWidth, Thickness))
  Airbox [vacuum] = box(corner=(0mm, 0mm, 0), size=(AirboxHeight, AirboxWidth, 495mil))
  GroundPlane = rectangle(corner=(0, 0, 0), x_size=AirboxHeight, y_size=AirboxWidth)
  R1_Bridge = rectangle(corner=(Resonator1X, Resonator1Y, Thickness), x_size=W, y_size=a*Len)
  R1_Leg1 = rectangle(corner=(Resonator1X+W, Resonator1Y, Thickness), x_size=R1Beta1*Len, y_size=W)
  R1_Leg2 = rectangle(corner=(Resonator1X+W, Resonator1Y+(a*Len)-W, Thickness), x_size=Beta2*Len, y_size=W)
  R2_Bridge = rectangle(corner=(Resonator2X+max(Beta1,Beta2)*Len, Resonator2Y, Thickness), x_size=W, y_size=a*Len)
  R2_Leg1 = rectangle(corner=(Resonator2X, Resonator2Y, Thickness), x_size=Beta1*Len, y_size=W)
  R2_Leg2 = rectangle(corner=(Resonator2X, Resonator2Y+(a*Len)-W, Thickness), x_size=Beta2*Len, y_size=W)
  Feed1 = rectangle(corner=(F1X, F1Y, Thickness), x_size=W50, y_size=FeedLen)
  Feed2 = rectangle(corner=(F2X, F2Y, Thickness), x_size=W50, y_size=FeedLen)
  R3_Bridge = rectangle(corner=(Resonator3X, Resonator3Y, Thickness), x_size=W, y_size=a*Len)
  R3_Leg1 = rectangle(corner=(Resonator3X+W, Resonator3Y, Thickness), x_size=Beta1*Len, y_size=W)
  R3_Leg2 = rectangle(corner=(Resonator3X+W, Resonator3Y+(a*Len)-W, Thickness), x_size=Beta1*Len, y_size=W)
  R4_Bridge = rectangle(corner=(Resonator4X+max(Beta1,Beta2)*Len, Resonator4Y, Thickness), x_size=W, y_size=a*Len)
  R4_Leg1 = rectangle(corner=(Resonator4X, Resonator4Y, Thickness), x_size=Beta1*Len, y_size=W)
  R4_Leg2 = rectangle(corner=(Resonator4X-(R1Beta1-Beta1)*Len, Resonator4Y+(a*Len)-W, Thickness), x_size=R1Beta1*Len, y_size=W)
  Rectangle1 = rectangle(corner=(F1X-(W50*3/2), 0mm, 0mm), z_size=300mil, x_size=W50*4)
  Rectangle2 = rectangle(corner=(F2X-(W50*3/2), AirboxWidth, 0), z_size=300mil, x_size=W50*5)
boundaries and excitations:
  FiniteCond6: Finite Conductivity Objects=GroundPlane UseMaterial Material=copper IsInternal
  FiniteCond7: Finite Conductivity Objects=[Feed1, Feed2, R1_Bridge, R1_Leg1, R1_Leg2, R2_Bridge, R2_Leg1, R2_Leg2] Conductivity=58000000 Permeability=1 IsInternal
  FiniteCond8: Finite Conductivity Objects=[R3_Bridge, R3_Leg1, R3_Leg2, R4_Bridge, R4_Leg1, R4_Leg2] Conductivity=58000000 Permeability=1 IsInternal
  Rad1: Radiation Faces=Airbox.face(+z)
  1: Wave Port Objects=Rectangle1 WavePortType=Modal NumModes=1 Modes{Mode1{CharImp=Zpi}}
  2: Wave Port Objects=Rectangle2 WavePortType=Modal NumModes=1 Modes{Mode1{CharImp=Zpi}}
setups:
  Setup1: HfssDriven Frequency=3.6GHz MaxDeltaS=0.005 MaximumPasses=16 MinimumPasses=1 MinimumConvergedPasses=1 PercentRefinement=30 BasisOrder=1 PortAccuracy=2 DrivenSolverType="Direct Solver"
    sweep Sweep: 2GHz to 4GHz, 2500 points; Type=Interpolating InterpTolerance=0.5 InterpMaxSolns=250 InterpUsePortImped=false PassivityErrorTolerance=0.0001
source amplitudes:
  1:1: 1W 0deg
  2:1: 0W 0deg
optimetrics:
  Bridge252: Parametric Sim._Setups=[Setup1]
    sweep a: 0.252
    sweep Spacing1: LINC 0.77916mm 0.79mm 6
    sweep Spacing2: LINC 0.98165mm 1.15mm 6
    sweep R1Beta1: LIN 0.405 0.425 8
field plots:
  Mag_E1, Mag_E2: E Field in Airbox on Setup1 : LastAdaptive at Freq=3.6GHz Phase=0deg
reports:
  S Parameter Plot 1: dB(S(2,1)), dB(S(1,1)) vs Freq on Setup1 : Sweep; markers m1 at 3.8655164GHz, MY1 at y=-14.5146
